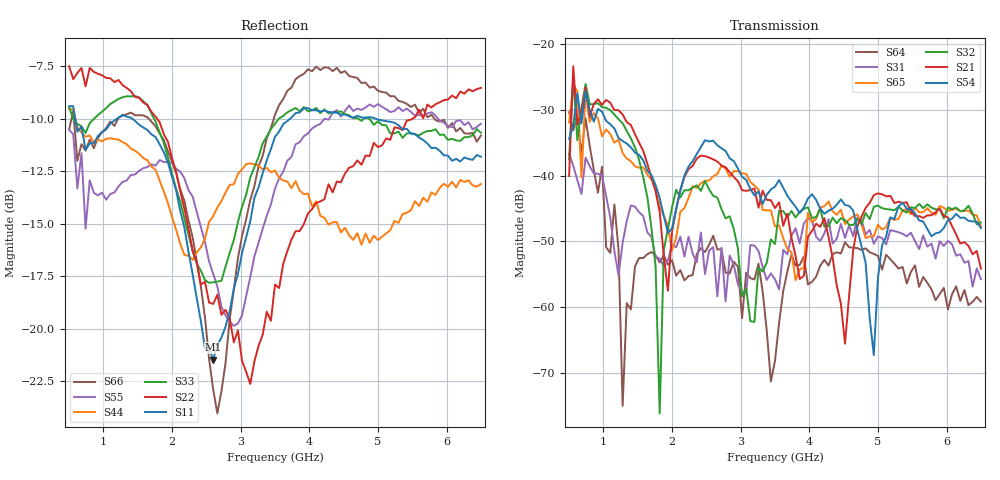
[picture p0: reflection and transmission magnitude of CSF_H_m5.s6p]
!Keysight Technologies,M9804A,MY58100912,A.14.10.03
!Date: Thursday, April 27, 2023 10:28:33
!Correction: S11(C  6-Port  )
!S12(C  6-Port  )
!S13(C  6-Port  )
!S14(C  6-Port  )
!S15(C  6-Port  )
!S16(C  6-Port  )
!S21(C  6-Port  )
!S22(C  6-Port  )
!S23(C  6-Port  )
!S24(C  6-Port  )
!S25(C  6-Port  )
!S26(C  6-Port  )
!S31(C  6-Port  )
!S32(C  6-Port  )
!S33(C  6-Port  )
!S34(C  6-Port  )
!S35(C  6-Port  )
!S36(C  6-Port  )
!S41(C  6-Port  )
!S42(C  6-Port  )
!S43(C  6-Port  )
!S44(C  6-Port  )
!S45(C  6-Port  )
!S46(C  6-Port  )
!S51(C  6-Port  )
!S52(C  6-Port  )
!S53(C  6-Port  )
!S54(C  6-Port  )
!S55(C  6-Port  )
!S56(C  6-Port  )
!S61(C  6-Port  )
!S62(C  6-Port  )
!S63(C  6-Port  )
!S64(C  6-Port  )
!S65(C  6-Port  )
!S66(C  6-Port  )
!S6P File: Measurement: :
# Hz S  RI  R 50
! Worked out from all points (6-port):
!   101 points, 500 MHz to 6.5 GHz, reference 50 ohm
!   strongest paths, dB at 500 MHz, 2 GHz, 3.5 GHz, 5 GHz, 6.5 GHz:
!     S54: -34.4, -48.0, -41.7, -55.5, -47.9
!     S21: -40.0, -48.5, -44.9, -42.7, -54.1
!     S32: -37.5, -44.8, -50.4, -44.5, -47.1
!     S65: -31.9, -51.4, -47.7, -47.5, -47.7
!     S31: -36.6, -50.5, -55.7, -49.2, -55.7
!     S64: -30.3, -52.8, -68.1, -52.2, -59.2
!   lowest |S11| = -21.5 dB at 2.6 GHz (marker M1), VSWR 1.18, Z = 42.5 + j2.16 ohm
!   |S11| at or under -10 dB: 589.8 MHz to 1.193 GHz (603.3 MHz wide, 67.7 % of centre); 1.424 GHz to 3.715 GHz (2.291 GHz wide, 89.1 % of centre); 4.975 GHz to end of sweep
